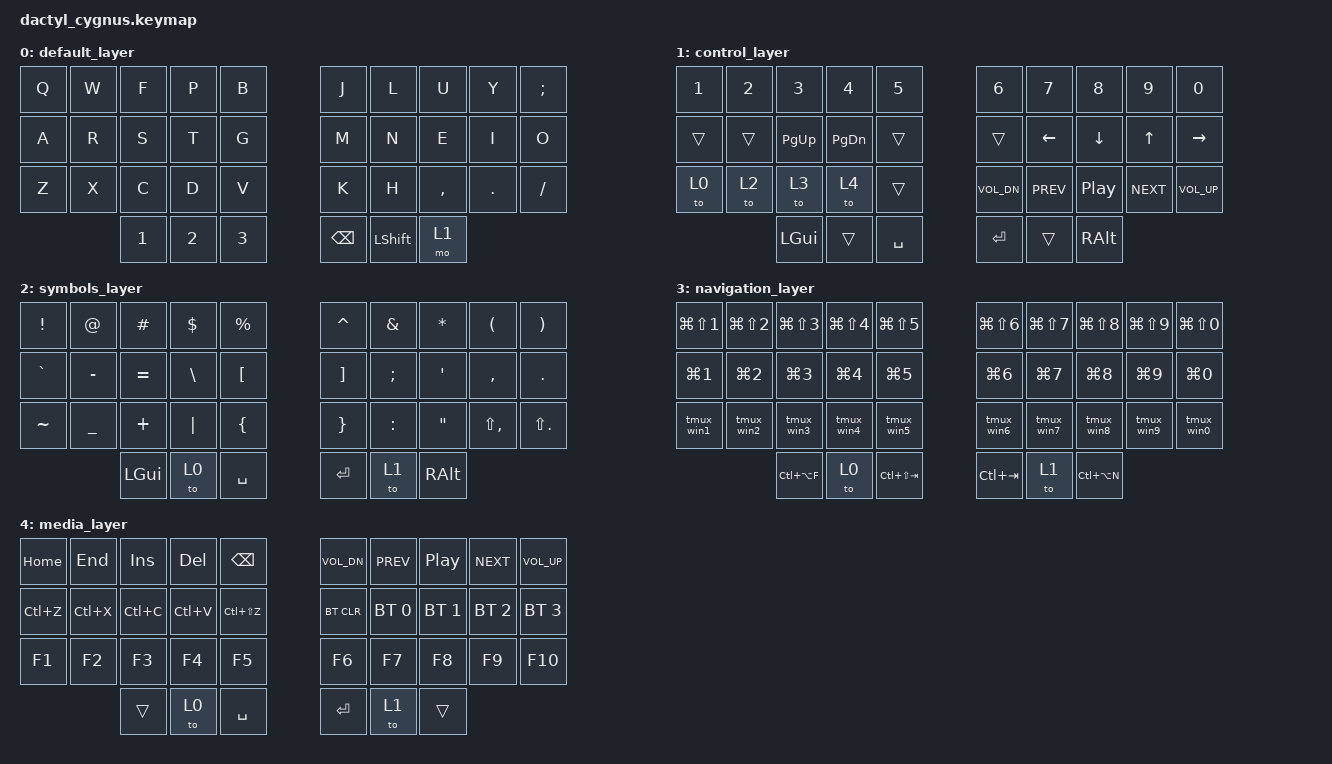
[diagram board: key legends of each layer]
/*
 * Forked from ZMK mainline's `corne` shield default keymap, with the
 * outer pinky column dropped on each side (TAB/BSPC and CTRL/' and
 * SHFT/ESC) to fit the 3x5+3 layout. 36 bindings per layer, in the same
 * row-major order as the five_column_transform map in dactyl_cygnus.dtsi.
 *
 * Base layer uses Colemak Mod-DH (matrix variant), not QWERTY.
 *
 * Layer architecture: hub-and-spoke. control_layer (index 1) is the
 * only layer entered by holding a key, and the only layer allowed to
 * reference every other layer (it's the hub). Every other layer may
 * only &to default_layer or control_layer -- never each other
 * directly -- and switches are permanent (&to) rather than momentary.
 */

#include <behaviors.dtsi>
#include <dt-bindings/zmk/keys.h>
#include <dt-bindings/zmk/bt.h>

// Keep caps word on across spaces and dashes too, so it behaves like a
// Caps Lock (letters, digits, _, backspace and delete already continue it
// by default). Any other key, or P+B again, ends it.
&caps_word {
        continue-list = <UNDERSCORE MINUS SPACE BACKSPACE DELETE>;
};

/ {
        macros {
// Each taps the tmux prefix (ctrl+space) then releases it before tapping
// the window number -- tmux's prefix is a leader key, not a held chord.
                tmux_win1: tmux_win1 { compatible = "zmk,behavior-macro"; #binding-cells = <0>; bindings = <&kp LC(SPACE) &kp N1>; };
                tmux_win2: tmux_win2 { compatible = "zmk,behavior-macro"; #binding-cells = <0>; bindings = <&kp LC(SPACE) &kp N2>; };
                tmux_win3: tmux_win3 { compatible = "zmk,behavior-macro"; #binding-cells = <0>; bindings = <&kp LC(SPACE) &kp N3>; };
                tmux_win4: tmux_win4 { compatible = "zmk,behavior-macro"; #binding-cells = <0>; bindings = <&kp LC(SPACE) &kp N4>; };
                tmux_win5: tmux_win5 { compatible = "zmk,behavior-macro"; #binding-cells = <0>; bindings = <&kp LC(SPACE) &kp N5>; };
                tmux_win6: tmux_win6 { compatible = "zmk,behavior-macro"; #binding-cells = <0>; bindings = <&kp LC(SPACE) &kp N6>; };
                tmux_win7: tmux_win7 { compatible = "zmk,behavior-macro"; #binding-cells = <0>; bindings = <&kp LC(SPACE) &kp N7>; };
                tmux_win8: tmux_win8 { compatible = "zmk,behavior-macro"; #binding-cells = <0>; bindings = <&kp LC(SPACE) &kp N8>; };
                tmux_win9: tmux_win9 { compatible = "zmk,behavior-macro"; #binding-cells = <0>; bindings = <&kp LC(SPACE) &kp N9>; };
                tmux_win0: tmux_win0 { compatible = "zmk,behavior-macro"; #binding-cells = <0>; bindings = <&kp LC(SPACE) &kp N0>; };
        };

        combos {
                compatible = "zmk,combos";
// Home row, right hand, positions 16+17 (N and E in the Colemak-DH
// default_layer). Tap together to switch to navigation_layer.
                combo_navigation_layer {
                        timeout-ms = <50>;
                        key-positions = <16 17>;
                        bindings = <&to 3>;
                };
// Top row, left hand, positions 0+1 (Q and W).
                combo_escape {
                        timeout-ms = <50>;
                        key-positions = <0 1>;
                        bindings = <&kp ESC>;
                };
// Home row, left hand, positions 10+11 (A and R).
                combo_tab {
                        timeout-ms = <50>;
                        key-positions = <10 11>;
                        bindings = <&kp TAB>;
                };
// Top row, positions 3+4 (P and B) -- deliberately two keys spanning
// the pinky/ring reach, not two adjacent home-row keys, so Caps Lock
// can't be triggered by accident. Uses ZMK's caps word (shifts letters
// in firmware) rather than &kp CAPS, since the laptop's OS remaps the
// real Caps Lock key to Ctrl. Tap P+B again to turn it off.
                combo_capslock {
                        timeout-ms = <50>;
                        key-positions = <3 4>;
                        bindings = <&caps_word>;
                };
// Top row, right hand, positions 6+7 (L and U). Frees up the thumb
// key that used to hold Enter on default_layer for Backspace instead.
                combo_enter {
                        timeout-ms = <50>;
                        key-positions = <6 7>;
                        bindings = <&kp RET>;
                };
        };

        keymap {
                compatible = "zmk,keymap";

                default_layer {
// -----------------------------------------------------------------
// |  Q  |  W  |  F  |  P  |  B  |   |  J  |  L  |  U  |  Y  |  ;   |
// |  A  |  R  |  S  |  T  |  G  |   |  M  |  N  |  E  |  I  |  O   |
// |  Z  |  X  |  C  |  D  |  V  |   |  K  |  H  |  ,  |  .  |  /   |
// thumb outer keys: gui (left) / hold control_layer (right)
// thumb second keys: ctrl (left) / shift (right)
// thumb inner keys: left -> space, right -> backspace
// Combos: Q+W -> Esc, A+R -> Tab, P+B -> Caps Word, L+U -> Enter,
// N+E -> navigation_layer
// TEMPORARY for left-half bring-up: left thumbs are normally &kp LGUI
// &kp LCTRL &kp SPACE -- GUI/Ctrl print nothing, so they can't be tested
// by typing. Swapped to visible N1/N2/N3 (outer..inner); revert once
// the left thumb cluster is confirmed working.
                        bindings = <
   &kp Q &kp W &kp F &kp P &kp B     &kp J &kp L &kp U     &kp Y   &kp SEMI
   &kp A &kp R &kp S &kp T &kp G     &kp M &kp N &kp E     &kp I   &kp O
   &kp Z &kp X &kp C &kp D &kp V     &kp K &kp H &kp COMMA &kp DOT &kp FSLH
               &kp N1 &kp N2 &kp N3   &kp BSPC &kp LSHFT &mo 1
                        >;
                };

                control_layer {
// Held via the right thumb outer key -- this is the ONLY layer
// reached by holding; every other layer is a tap-and-switch (&to).
// Row 1 = numbers. Row 2 = arrows (right hand, starting one key in)
// + Page Up/Down under the left hand's middle/index fingers. Row 3:
// left hand is the layer hub -- while holding this key, tap one of
// these to permanently switch to that layer -- right hand is media
// transport + volume, bookended by volume so it reads symmetrically
// (vol down, transport controls, vol up).
// -----------------------------------------------------------------
// |  1  |  2  |  3  |  4  |  5  |   |  6  |  7  |  8  |  9  |  0   |
// |     |     | PGUP| PGDN|     |   |     | LFT | DWN |  UP | RGT  |
// | DEF | SYM | NAV | MED |     |   |VOL- |PREV | PLAY|NEXT |VOL+  |
// thumb outer keys: gui (left) / this key itself, already held (right)
// thumb second keys: ctrl (left) / shift (right) -- inherited from
// default_layer via &trans, same as everything else not listed above
// thumb inner keys: left -> space, right -> enter
                        bindings = <
   &kp N1 &kp N2   &kp N3   &kp N4   &kp N5    &kp N6   &kp N7   &kp N8 &kp N9    &kp N0
   &trans &trans   &kp PG_UP &kp PG_DN &trans   &trans   &kp LEFT &kp DOWN &kp UP &kp RIGHT
   &to 0  &to 2    &to 3    &to 4    &trans    &kp C_VOL_DN &kp C_PREV &kp C_PP &kp C_NEXT &kp C_VOL_UP
                    &kp LGUI &trans &kp SPACE   &kp RET &trans &kp RALT
                        >;
                };

                symbols_layer {
// One rule for the whole layer: home row = base symbol, bottom row =
// its Shift-variant, same column. (Top row already follows this same
// pattern relative to control_layer's number row -- including ( and ),
// which is why parens stay on the right instead of also splitting.)
//
// The two innermost columns (index fingers, either side of the split)
// are the exception: they're a dedicated open/close zone instead --
// left index = opening delimiter, right index = closing delimiter,
// row picks bracket vs brace. So [ and ], and { and }, each land one
// per hand instead of bunched on one side.
// -----------------------------------------------------------------
// |  !  |  @  |  #  |  $  |  %  |   |  ^  |  &  |  *  |  (  |  )   |
// |  `  |  -  |  =  |  \  |  [  |   |  ]  |  ;  |  '  |  ,  |  .   |
// |  ~  |  _  |  +  |  |  |  {  |   |  }  |  :  |  "  |  <  |  >   |
// thumb outer keys: gui (left) / alt (right)
// thumb second keys: left -> default_layer, right -> control_layer (the
// canonical spot for these two jumps -- navigation_layer/media_layer match)
// thumb inner keys: left -> space, right -> enter
                        bindings = <
   &kp EXCL  &kp AT    &kp HASH  &kp DLLR &kp PRCNT    &kp CARET &kp AMPS &kp ASTRK &kp LPAR   &kp RPAR
   &kp GRAVE &kp MINUS &kp EQUAL &kp BSLH &kp LBKT     &kp RBKT  &kp SEMI &kp SQT   &kp COMMA  &kp DOT
   &kp TILDE &kp UNDER &kp PLUS  &kp PIPE &kp LBRC     &kp RBRC  &kp COLON &kp DQT  &kp LS(COMMA) &kp LS(DOT)
                    &kp LGUI &to 0 &kp SPACE   &kp RET &to 1 &kp RALT
                        >;
                };

                navigation_layer {
// Hyprland window/workspace management. Entered via the combo below
// (tap N+E together); persists until you leave via a thumb key.
// -----------------------------------------------------------------
// |SUP+SFT+1|SUP+SFT+2|SUP+SFT+3|SUP+SFT+4|SUP+SFT+5| |SUP+SFT+6|SUP+SFT+7|SUP+SFT+8|SUP+SFT+9|SUP+SFT+0|  move app to workspace
// | SUP+1   | SUP+2   | SUP+3   | SUP+4   | SUP+5   | | SUP+6   | SUP+7   | SUP+8   | SUP+9   | SUP+0   |  switch to workspace
// | tmux 1  | tmux 2  | tmux 3  | tmux 4  | tmux 5  | | tmux 6  | tmux 7  | tmux 8  | tmux 9  | tmux 0  |  ctrl+space then N
// thumb outer keys: ctrl+alt+f (left) / ctrl+alt+n (right) -- switch user in Zen
// thumb second keys: left -> default_layer, right -> control_layer (same two
// keys every layer uses for these two jumps -- see symbols_layer/media_layer)
// thumb inner keys: ctrl+shift+tab (left, prev tab) / ctrl+tab (right, next
// tab) -- flip left/right if you'd rather have next on the left.
                        bindings = <
   &kp LG(LS(N1)) &kp LG(LS(N2)) &kp LG(LS(N3)) &kp LG(LS(N4)) &kp LG(LS(N5))   &kp LG(LS(N6)) &kp LG(LS(N7)) &kp LG(LS(N8)) &kp LG(LS(N9)) &kp LG(LS(N0))
   &kp LG(N1)     &kp LG(N2)     &kp LG(N3)     &kp LG(N4)     &kp LG(N5)       &kp LG(N6)     &kp LG(N7)     &kp LG(N8)     &kp LG(N9)     &kp LG(N0)
   &tmux_win1     &tmux_win2     &tmux_win3     &tmux_win4     &tmux_win5       &tmux_win6     &tmux_win7     &tmux_win8     &tmux_win9     &tmux_win0
                    &kp LC(LA(F)) &to 0 &kp LC(LS(TAB))   &kp LC(TAB) &to 1 &kp LC(LA(N))
                        >;
                };

                media_layer {
// Reached from navigation_layer's left thumb. Left hand: editing keys
// (row 1) and clipboard/undo ops (row 2, same letters as their usual
// ctrl-shortcuts: Z X C V for undo/cut/copy/paste, plus redo). Right
// hand: media transport + volume (row 1, bookended by volume like
// control_layer's copy of the same controls), Bluetooth profile
// select (row 2) -- kept even though this build is wired, since
// nice_nano_v2 also has BLE and this makes it easy to pair with
// another device later; drop it if you'd rather not carry the
// option. Row 3: F-keys, moved here from control_layer.
// -----------------------------------------------------------------
// | HOME| END | INS | DEL | BSPC|   |VOL- |PREV | PLAY|NEXT |VOL+  |
// |UNDO |CUT  |COPY |PASTE|REDO |   |BTCLR| BT1 | BT2 | BT3 | BT4  |
// |  F1 |  F2 |  F3 |  F4 |  F5 |   |  F6 |  F7 |  F8 |  F9 | F10  |
// thumb outer keys: open (was jumping to symbols/navigation directly --
// removed per the hub-and-spoke rule; go through control_layer instead)
// thumb second keys: left -> default_layer, right -> control_layer (same
// two keys every layer uses for these two jumps)
// thumb inner keys: left -> space, right -> enter
                        bindings = <
   &kp HOME  &kp END  &kp INS  &kp DEL  &kp BSPC     &kp C_VOL_DN &kp C_PREV  &kp C_PP   &kp C_NEXT   &kp C_VOL_UP
   &kp LC(Z) &kp LC(X) &kp LC(C) &kp LC(V) &kp LC(LS(Z))   &bt BT_CLR &bt BT_SEL 0 &bt BT_SEL 1 &bt BT_SEL 2 &bt BT_SEL 3
   &kp F1    &kp F2   &kp F3   &kp F4   &kp F5       &kp F6     &kp F7      &kp F8     &kp F9       &kp F10
                    &trans &to 0 &kp SPACE   &kp RET &to 1 &trans
                        >;
                };
        };
};
